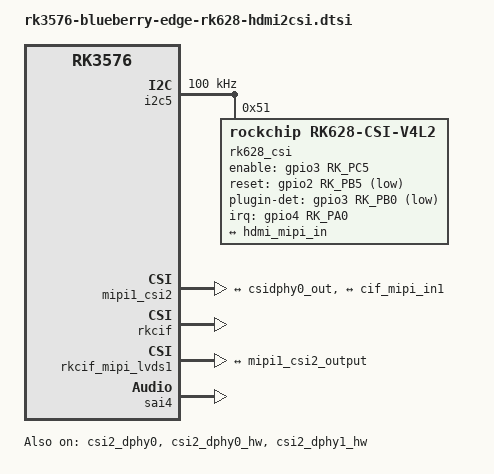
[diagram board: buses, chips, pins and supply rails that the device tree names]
// SPDX-License-Identifier: (GPL-2.0+ OR MIT)
/*
 * Copyright (c) 2024 Rockchip Electronics Co., Ltd.
 *
 */

/ {
	rk628f_dc: rk628f-dc {
		compatible = "rockchip,dummy-codec";
		#sound-dai-cells = <0>;
	};

	rkvtunnel: rkvtunnel {
		compatible = "rockchip,video-tunnel";
		status = "okay";
	};

	hdmiin-sound {
		compatible = "simple-audio-card";
		simple-audio-card,format = "i2s";
		simple-audio-card,name = "rockchip,hdmiin";
		simple-audio-card,bitclock-master = <&dailink0_master>;
		simple-audio-card,frame-master = <&dailink0_master>;
		status = "okay";
		simple-audio-card,cpu {
			sound-dai = <&sai4>;
		};
		dailink0_master: simple-audio-card,codec {
			sound-dai = <&rk628f_dc>;
		};
	};

	//vcc_mipicsi1: vcc-mipicsi1-regulator {
	//	compatible = "regulator-fixed";
	//	gpio = <&gpio3 RK_PC5 GPIO_ACTIVE_HIGH>;
	//	pinctrl-names = "default";
	//	pinctrl-0 = <&mipicsi1_pwr>;
	//	regulator-name = "vcc_mipicsi1";
	//	enable-active-high;
	//};	
};

&csi2_dphy0 {
	status = "okay";

	ports {
		#address-cells = <1>;
		#size-cells = <0>;
		port@0 {
			reg = <0>;
			#address-cells = <1>;
			#size-cells = <0>;

			hdmi_mipi_in: endpoint@1 {
				reg = <1>;
				remote-endpoint = <&hdmiin_out>;
				data-lanes = <1 2 3 4>;
			};
		};
		port@1 {
			reg = <1>;
			#address-cells = <1>;
			#size-cells = <0>;

			csidphy0_out: endpoint@0 {
				reg = <0>;
				remote-endpoint = <&mipi1_csi2_input>;
			};
		};
	};
};

&csi2_dphy0_hw {
	status = "okay";
};

&csi2_dphy1_hw {
	status = "okay";
};

&i2c5 {
	status = "okay";
	pinctrl-0 = <&i2c5m3_xfer>;
	clock-frequency = <100000>;
	//clock-frequency = <400000>;

	rk628_csi: rk628_csi@51 {
		reg = <0x51>;
		compatible = "rockchip,rk628-csi-v4l2";
		status = "okay";
		//clocks = <&cru REF_CLK0_OUT_PLL>;
		//clock-names = "xvclk";		
		pinctrl-names = "default";
		//pinctrl-0 = <&rk628_hdmiin_pin &ref_clk0_clk0>;
		pinctrl-0 = <&rk628_hdmiin_pin>;
		power-domains = <&power RK3576_PD_VI>;
		interrupt-parent = <&gpio4>;
		interrupts = <RK_PA0 IRQ_TYPE_EDGE_RISING>;
		enable-gpios = <&gpio3 RK_PC5 GPIO_ACTIVE_HIGH>;
		reset-gpios = <&gpio2 RK_PB5 GPIO_ACTIVE_LOW>;
		plugin-det-gpios = <&gpio3 RK_PB0 GPIO_ACTIVE_LOW>;
		continues-clk = <1>;

		rockchip,camera-module-index = <0>;
		rockchip,camera-module-facing = "back";
		rockchip,camera-module-name = "HDMI-MIPI1";
		rockchip,camera-module-lens-name = "RK628-CSI";

		multi-dev-info {
			dev-idx-l = <1>;
			dev-idx-r = <3>;
			combine-idx = <1>;
			pixel-offset = <0>;
			dev-num = <2>;
		};

		port {
			hdmiin_out: endpoint {
				remote-endpoint = <&hdmi_mipi_in>;
				data-lanes = <1 2 3 4>;
			};
		};
	};
};

&mipi1_csi2 {
	status = "okay";

	ports {
		#address-cells = <1>;
		#size-cells = <0>;

		port@0 {
			reg = <0>;
			#address-cells = <1>;
			#size-cells = <0>;

			mipi1_csi2_input: endpoint@1 {
				reg = <1>;
				remote-endpoint = <&csidphy0_out>;
			};
		};

		port@1 {
			reg = <1>;
			#address-cells = <1>;
			#size-cells = <0>;

			mipi1_csi2_output: endpoint@0 {
				reg = <0>;
				remote-endpoint = <&cif_mipi_in1>;
			};
		};
	};
};

&rkcif {
	status = "okay";
};

&rkcif_mipi_lvds1 {
	status = "okay";

	port {
		cif_mipi_in1: endpoint {
			remote-endpoint = <&mipi1_csi2_output>;
		};
	};
};

&rkcif_mmu {
	status = "okay";
};

&sai4 {
	pinctrl-names = "default";
	pinctrl-0 = <&sai4m0_lrck
		     &sai4m0_sclk
		     &sai4m0_sdi>;
	status = "okay";
};

&pinctrl {
	hdmiin {
		//mipicsi1_pwr: mipicsi1-pwr {
		//	rockchip,pins =
		//		/* 628H camera power en */
		//		<3 RK_PC5 RK_FUNC_GPIO &pcfg_pull_none>;
		//};

		rk628_hdmiin_pin: rk628-hdmiin-pin {
			rockchip,pins = <4 RK_PA0 RK_FUNC_GPIO &pcfg_pull_none>,
					<2 RK_PB5 RK_FUNC_GPIO &pcfg_pull_none>,
					<3 RK_PC5 RK_FUNC_GPIO &pcfg_pull_none>,
					<3 RK_PB0 RK_FUNC_GPIO &pcfg_pull_none>;
		};
	};
};
